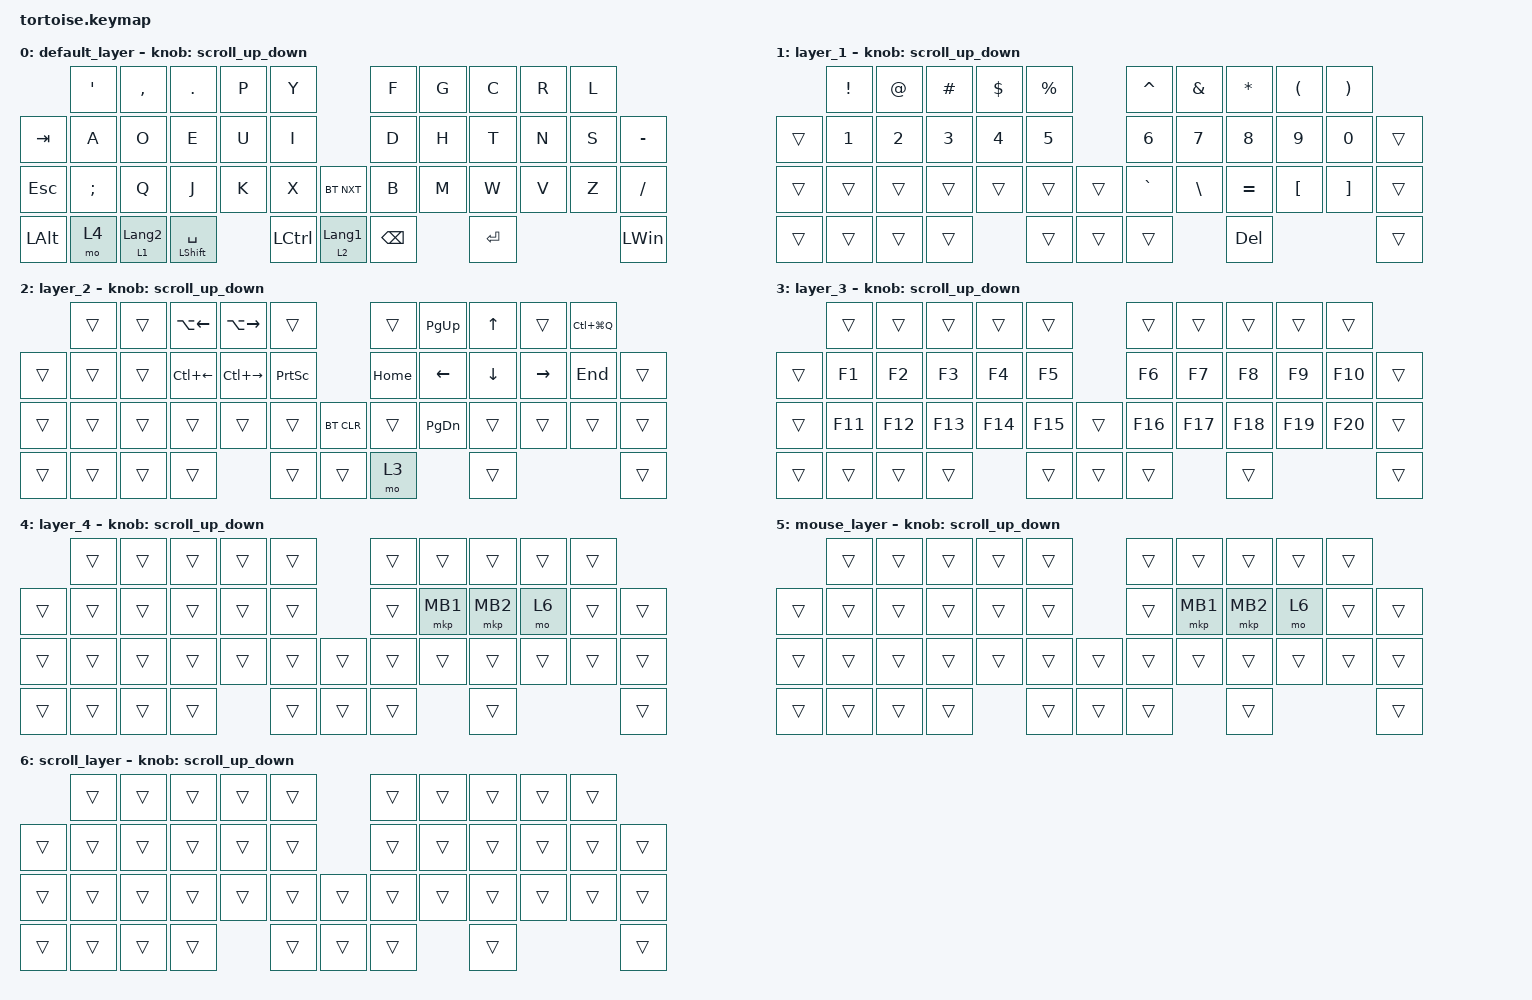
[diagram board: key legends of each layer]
#include <input/processors.dtsi>
#include <dt-bindings/zmk/input_transform.h>
#include <zephyr/dt-bindings/input/input-event-codes.h>
#include <behaviors.dtsi>
#include <dt-bindings/zmk/bt.h>
#include <dt-bindings/zmk/keys.h>
#include <dt-bindings/zmk/pointing.h>

#define ZMK_POINTING_DEFAULT_SCRL_VAL 150
#define ZMK_POINTING_DEFAULT_MOVE_VAL 1000

&mt {
    flavor = "balanced";
    quick-tap-ms = <0>;
};

/ {
    combos { compatible = "zmk,combos"; };

    behaviors {
        scroll_up_down: behavior_sensor_rotate_mouse_wheel_up_down {
            compatible = "zmk,behavior-sensor-rotate";
            #sensor-binding-cells = <0>;
            bindings = <&msc SCRL_UP>, <&msc SCRL_DOWN>;
            tap-ms = <20>;
        };
        zoom_in_out: behavior_sensor_rotate_mouse_wheel_up_down {
            compatible = "zmk,behavior-sensor-rotate";
            #sensor-binding-cells = <0>;
            bindings = <&kp LC(PLUS)>, <&kp LC(MINUS)>;
            tap-ms = <20>;
        };
    };

    keymap {
        compatible = "zmk,keymap";

        default_layer {
            bindings = <
                            &kp APOSTROPHE  &kp COMMA  &kp DOT  &kp P   &kp Y                                   &kp F   &kp G   &kp C   &kp R  &kp L
                &kp TAB     &kp A           &kp O      &kp E    &kp U   &kp I                                   &kp D   &kp H   &kp T   &kp N  &kp S  &kp MINUS
                &kp ESCAPE  &kp SEMICOLON   &kp Q      &kp J    &kp K   &kp X   &bt BT_NXT                      &kp B   &kp M   &kp W   &kp V  &kp Z  &kp SLASH
                &kp LALT    &mo 4 &lt 1 LANGUAGE_2  &mt LSHIFT SPACE  &kp LEFT_CONTROL  &lt 2 LANGUAGE_1        &kp BACKSPACE  &kp ENTER              &kp LEFT_WIN           
            >;
            sensor-bindings = <&scroll_up_down>;
        };

        layer_1 {
            bindings = <
                        &kp EXCLAMATION  &kp AT_SIGN   &kp POUND     &kp DOLLAR    &kp PERCENT                  &kp CARET     &kp AMPERSAND  &kp ASTERISK  &kp LEFT_PARENTHESIS  &kp RIGHT_PARENTHESIS
                &trans  &kp NUMBER_1     &kp NUMBER_2  &kp NUMBER_3  &kp NUMBER_4  &kp NUMBER_5                 &kp NUMBER_6  &kp NUMBER_7   &kp NUMBER_8  &kp NUMBER_9          &kp NUMBER_0           &trans
                &trans  &trans           &trans        &trans        &trans        &trans       &trans          &kp GRAVE     &kp BACKSLASH  &kp EQUAL     &kp LEFT_BRACKET      &kp RIGHT_BRACKET      &trans
                &trans  &trans           &trans        &trans        &trans        &trans                       &trans        &kp DELETE                                                                &trans
            >;
            sensor-bindings = <&scroll_up_down>;
        };

        layer_2 {
            bindings = <
                        &trans  &trans  &kp LA(LEFT_ARROW)  &kp LA(RIGHT_ARROW)  &trans                         &trans    &kp PAGE_UP     &kp UP_ARROW    &trans           &kp LC(LG(Q))
                &trans  &trans  &trans  &kp LC(LEFT_ARROW)  &kp LC(RIGHT_ARROW)  &kp PRINTSCREEN                &kp HOME  &kp LEFT_ARROW  &kp DOWN_ARROW  &kp RIGHT_ARROW  &kp END          &trans
                &trans  &trans  &trans  &trans              &trans               &trans         &bt BT_CLR      &trans    &kp PAGE_DOWN   &trans          &trans           &trans           &trans
                &trans  &trans  &trans  &trans              &trans               &trans                         &mo 3     &trans                                                            &trans
            >;
            sensor-bindings = <&scroll_up_down>;
        };

        layer_3 {
            bindings = <
                        &trans   &trans   &trans   &trans   &trans                  &trans   &trans   &trans   &trans   &trans
                &trans  &kp F1   &kp F2   &kp F3   &kp F4   &kp F5                  &kp F6   &kp F7   &kp F8   &kp F9   &kp F10  &trans
                &trans  &kp F11  &kp F12  &kp F13  &kp F14  &kp F15  &trans         &kp F16  &kp F17  &kp F18  &kp F19  &kp F20  &trans
                &trans  &trans   &trans   &trans   &trans   &trans                  &trans   &trans                              &trans
            >;
            sensor-bindings = <&scroll_up_down>;
        };

        layer_4 {
            bindings = <
                        &trans  &trans  &trans  &trans  &trans              &trans  &trans  &trans  &trans  &trans
                &trans  &trans  &trans  &trans  &trans  &trans              &trans  &mkp MB1  &mkp MB2  &mo 6  &trans  &trans
                &trans  &trans  &trans  &trans  &trans  &trans  &trans      &trans  &trans  &trans  &trans  &trans  &trans
                &trans  &trans  &trans  &trans  &trans  &trans              &trans  &trans                          &trans
            >;
            sensor-bindings = <&scroll_up_down>;
        };

        mouse_layer {
            bindings = <
                        &trans  &trans  &trans  &trans  &trans              &trans  &trans    &trans    &trans  &trans
                &trans  &trans  &trans  &trans  &trans  &trans              &trans  &mkp MB1  &mkp MB2  &mo 6   &trans  &trans
                &trans  &trans  &trans  &trans  &trans  &trans  &trans      &trans  &trans    &trans    &trans  &trans  &trans
                &trans  &trans  &trans  &trans  &trans  &trans              &trans  &trans                              &trans
            >;
            sensor-bindings = <&scroll_up_down>;
        };

        scroll_layer {
            bindings = <
                        &trans  &trans  &trans  &trans  &trans              &trans  &trans  &trans  &trans  &trans
                &trans  &trans  &trans  &trans  &trans  &trans              &trans  &trans  &trans  &trans  &trans  &trans
                &trans  &trans  &trans  &trans  &trans  &trans  &trans      &trans  &trans  &trans  &trans  &trans  &trans
                &trans  &trans  &trans  &trans  &trans  &trans              &trans  &trans                          &trans
            >;
            sensor-bindings = <&scroll_up_down>;
        };
    };
};
